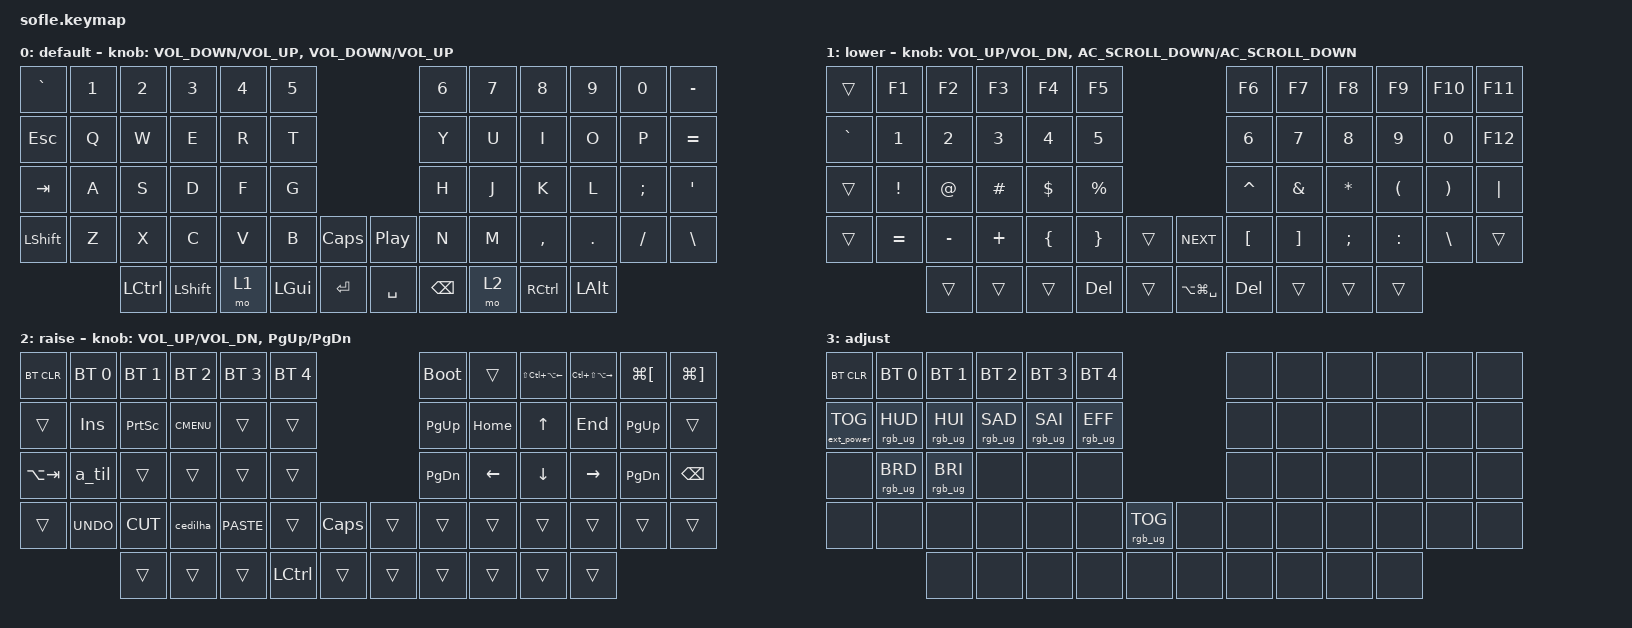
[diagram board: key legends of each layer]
/*
 * Copyright (c) 2020 The ZMK Contributors
 *
 * SPDX-License-Identifier: MIT
 */

#include <behaviors.dtsi>
#include <dt-bindings/zmk/bt.h>
#include <dt-bindings/zmk/ext_power.h>
#include <dt-bindings/zmk/keys.h>
#include <dt-bindings/zmk/rgb.h>

#define BASE 0
#define LOWER 1
#define RAISE 2
#define ADJUST 3

/ {
    // Activate ADJUST layer by pressing raise and lower

    conditional_layers {
        compatible = "zmk,conditional-layers";

        adjust_layer {
            if-layers = <LOWER RAISE>;
            then-layer = <ADJUST>;
        };
    };

    macros {
        cedilha: cedilha {
            compatible = "zmk,behavior-macro";
            #binding-cells = <0>;
            bindings = <&kp RA(COMMA)>;
            label = "CEDILHA";
        };

        a_til: a_til {
            compatible = "zmk,behavior-macro";
            #binding-cells = <0>;
            bindings = <&kp LS(GRAVE) &kp A>;
            label = "A_TIL";
        };

        nvim_replace_buffer: nvim_replace_buffer {
            compatible = "zmk,behavior-macro";
            #binding-cells = <0>;
            bindings = <&kp COLON &kp PERCENT &kp S &kp AT_SIGN &kp LC(R) &kp SLASH &kp AT_SIGN>;
            label = "NVIM_REPLACE_BUFFER";
        };

        nvim_replace: nvim_replace {
            compatible = "zmk,behavior-macro";
            #binding-cells = <0>;
            bindings = <&kp COLON &kp PERCENT &kp S &kp AT_SIGN>;
            label = "NVIM_REPLACE";
        };
    };

    keymap {
        compatible = "zmk,keymap";

        default_layer {
            display-name = "default";

            // ------------------------------------------------------------------------------------------------------------
            // |   `   |  1  |  2  |  3   |  4   |  5   |                   |  6   |  7    |  8    |  9   |   0   |       |
            // |  ESC  |  Q  |  W  |  E   |  R   |  T   |                   |  Y   |  U    |  I    |  O   |   P   | BKSPC |
            // |  TAB  |  A  |  S  |  D   |  F   |  G   |                   |  H   |  J    |  K    |  L   |   ;   |   '   |
            // | SHIFT |  Z  |  X  |  C   |  V   |  B   |  MUTE  |  |       |  N   |  M    |  ,    |  .   |   /   | SHIFT |
            //               | GUI | ALT  | CTRL | LOWER|  ENTER |  | SPACE | RAISE| CTRL  | ALT   | GUI  |

            bindings = <
&kp GRAVE  &kp N1  &kp N2            &kp N3          &kp N4  &kp N5                                      &kp N6         &kp N7  &kp N8             &kp N9        &kp N0    &kp MINUS
&kp ESC    &kp Q   &kp W             &kp E           &kp R   &kp T                                       &kp Y          &kp U   &kp I              &kp O         &kp P     &kp EQUAL
&kp TAB    &kp A   &kp S             &kp D           &kp F   &kp G                                       &kp H          &kp J   &kp K              &kp L         &kp SEMI  &kp SQT
&kp LSHFT  &kp Z   &kp X             &kp C           &kp V   &kp B         &kp CLCK    &kp C_PLAY_PAUSE  &kp N          &kp M   &kp COMMA          &kp DOT       &kp FSLH  &kp BACKSLASH
                   &kp LEFT_CONTROL  &kp LEFT_SHIFT  &mo 1   &kp LEFT_GUI  &kp RET     &kp SPACE         &kp BACKSPACE  &mo 2   &kp RIGHT_CONTROL  &kp LEFT_ALT
            >;

            sensor-bindings =
                <&inc_dec_kp C_VOLUME_DOWN C_VOLUME_UP>,
                <&inc_dec_kp C_VOLUME_DOWN C_VOLUME_UP>;
        };

        lower_layer {
            display-name = "lower";

            // TODO: Some binds are waiting for shifted keycode support.
            // ------------------------------------------------------------------------------------------------------------
            // |       |  F1 |  F2 |  F3  |  F4  |  F5  |                   |  F6  |  F7   |  F8   |  F9  |  F10  |  F11  |
            // |   `   |  1  |  2  |  3   |  4   |  5   |                   |  6   |  7    |  8    |  9   |   0   |  F12  |
            // |       |  !  |  @  |  #   |  $   |  %   |                   |  ^   |  &    |  *    |  (   |   )   |   |   |
            // |       |  =  |  -  |  +   |  {   |  }   |        |  |       |  [   |  ]    |  ;    |  :   |   \   |       |
            //               |     |      |      |      |        |  |       |      |       |       |      |

            bindings = <
&trans     &kp F1     &kp F2     &kp F3    &kp F4    &kp F5                                   &kp F6      &kp F7    &kp F8     &kp F9     &kp F10   &kp F11
&kp GRAVE  &kp N1     &kp N2     &kp N3    &kp N4    &kp N5                                   &kp N6      &kp N7    &kp N8     &kp N9     &kp N0    &kp F12
&trans     &kp EXCL   &kp AT     &kp HASH  &kp DLLR  &kp PRCNT                                &kp CARET   &kp AMPS  &kp ASTRK  &kp LPAR   &kp RPAR  &kp PIPE
&trans     &kp EQUAL  &kp MINUS  &kp PLUS  &kp LBRC  &kp RBRC    &trans    &kp C_NEXT         &kp LBKT    &kp RBKT  &kp SEMI   &kp COLON  &kp BSLH  &trans
                      &trans     &trans    &trans    &kp DELETE  &trans    &kp LA(LG(SPACE))  &kp DELETE  &trans    &trans     &trans
            >;

            sensor-bindings =
                <&inc_dec_kp C_VOL_UP C_VOL_DN>,
                <&inc_dec_kp C_AC_SCROLL_DOWN C_AC_SCROLL_DOWN>;
        };

        raise_layer {
            display-name = "raise";

            // ------------------------------------------------------------------------------------------------------------
            // | BTCLR | BT1  | BT2  |  BT3  |  BT4  |  BT5 |                |      |      |       |      |       |       |
            // |       | INS  | PSCR | GUI   |       |      |                | PGUP |      |   ^   |      |       |       |
            // |       | ALT  | CTRL | SHIFT |       | CAPS |                | PGDN |   <- |   v   |  ->  |  DEL  | BKSPC |
            // |       | UNDO | CUT  | COPY  | PASTE |      |      |  |      |      |      |       |      |       |       |
            //                |      |       |       |      |      |  |      |      |      |       |      |

            bindings = <
&bt BT_CLR   &bt BT_SEL 0  &bt BT_SEL 1  &bt BT_SEL 2  &bt BT_SEL 3  &bt BT_SEL 4                              &bootloader  &trans    &kp LS(LC(LA(LEFT_ARROW)))  &kp LC(LS(LA(RIGHT_ARROW)))  &kp LG(LEFT_BRACKET)  &kp LG(RIGHT_BRACKET)
&trans       &kp INS       &kp PSCRN     &kp K_CMENU   &trans        &trans                                    &kp PG_UP    &kp HOME  &kp UP                      &kp END                      &kp PAGE_UP           &trans
&kp LA(TAB)  &a_til        &trans        &trans        &trans        &trans                                    &kp PG_DN    &kp LEFT  &kp DOWN                    &kp RIGHT                    &kp PAGE_DOWN         &kp BSPC
&trans       &kp K_UNDO    &kp K_CUT     &cedilha      &kp K_PASTE   &trans            &kp CAPSLOCK    &trans  &trans       &trans    &trans                      &trans                       &trans                &trans
                           &trans        &trans        &trans        &kp LEFT_CONTROL  &trans          &trans  &trans       &trans    &trans                      &trans
            >;

            sensor-bindings = <&inc_dec_kp C_VOL_UP C_VOL_DN &inc_dec_kp PG_UP PG_DN>;
        };

        adjust_layer {
            // ----------------------------------------------------------------------------------------------------------------------------
            // | BTCLR  |  BT1    |  BT2    |   BT3   |   BT4   |   BT5   |                  |      |      |       |      |       |       |
            // | EXTPWR | RGB_HUD | RGB_HUI | RGB_SAD | RGB_SAI | RGB_EFF |                  |      |      |       |      |       |       |
            // |        | RGB_BRD | RGB_BRI |         |         |         |                  |      |      |       |      |       |       |
            // |        |         |         |         |         |         | RGB_TOG | |      |      |      |       |      |       |       |
            //                    |         |         |         |         |         | |      |      |      |       |      |

            display-name = "adjust";
            bindings = <
&bt BT_CLR         &bt BT_SEL 0     &bt BT_SEL 1     &bt BT_SEL 2     &bt BT_SEL 3     &bt BT_SEL 4                               &none  &none  &none  &none  &none  &none
&ext_power EP_TOG  &rgb_ug RGB_HUD  &rgb_ug RGB_HUI  &rgb_ug RGB_SAD  &rgb_ug RGB_SAI  &rgb_ug RGB_EFF                            &none  &none  &none  &none  &none  &none
&none              &rgb_ug RGB_BRD  &rgb_ug RGB_BRI  &none            &none            &none                                      &none  &none  &none  &none  &none  &none
&none              &none            &none            &none            &none            &none            &rgb_ug RGB_TOG    &none  &none  &none  &none  &none  &none  &none
                                    &none            &none            &none            &none            &none              &none  &none  &none  &none  &none
            >;
        };
    };
};
